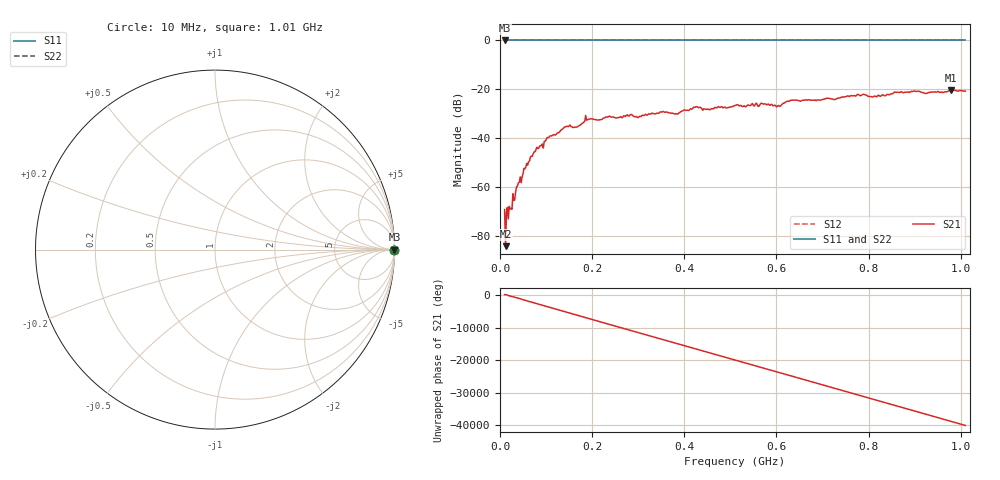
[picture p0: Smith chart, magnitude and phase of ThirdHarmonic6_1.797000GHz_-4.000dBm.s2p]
! 8/16/2025 9:44:37 PM
! C:\ANRITSUVNA\TEMP\TEMP.S2P
! CHANNEL.1
! TR.MEASUREMENT
! RAW.DATA
! RF.CORRECTION.OFF
! AVERAGING.OFF
! IF.BANDWIDTH: 5KHZ
! SWEEPTYPE:  FREQ.SWEEP(Linear)
! Reference Plane Port Info
! PORT:  PORT1  PORT2
! DISTANCE:  0  m  0  m
! TIME:  0  s  0  s
! PHASE.OFFSET:  0  deg.  0  deg.
! LOSS:  0  dB  0  dB
! REF.LOSS:  0  dB  0  dB
! REF.FREQ:  0  Hz  0  Hz
! Power Info
! POWER:  -20  dBm  -20  dBm
! EFF.POWER:  -20  dBm  -20  dBm
! SOURCE.ATTEN:  0  dB  0  dB
! TEST.ATTEN:  0  dB  0  dB
# GHZ S RI R 50.0
! FREQ.GHZ  S11RE  S11IM  S21RE  S21IM  S12RE  S12IM  S22RE  S22IM
!; PortSelection: Port_12
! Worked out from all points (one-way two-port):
!   501 points, 10 MHz to 1.01 GHz, reference 50 ohm
!   highest |S21| = -20.34 dB at 978 MHz (marker M1); lowest = -84.3 dB at 12 MHz (marker M2)
!   lowest |S11| = 0.0 dB at 10 MHz (marker M3)
!   |S11| at or under -10 dB: nowhere
!   |S22| runs from 0.0 to 0.0 dB; largest |S21 - S12| = 1.1
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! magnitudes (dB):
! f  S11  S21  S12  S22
! 10 MHz  0.0  -69.3  0.0  0.0
! 12 MHz  0.0  -84.3  0.0  0.0
! 16 MHz  0.0  -68.4  0.0  0.0
! 18 MHz  0.0  -73.1  0.0  0.0
! 22 MHz  0.0  -69.0  0.0  0.0
! 40 MHz  0.0  -58.3  0.0  0.0
! 76 MHz  0.0  -45.6  0.0  0.0
! 106 MHz  0.0  -39.7  0.0  0.0
! 142 MHz  0.0  -35.5  0.0  0.0
! 178 MHz  0.0  -34.0  0.0  0.0
! 190 MHz  0.0  -32.5  0.0  0.0
! 344 MHz  0.0  -29.9  0.0  0.0
! 382 MHz  0.0  -30.0  0.0  0.0
! 424 MHz  0.0  -27.3  0.0  0.0
! 452 MHz  0.0  -28.2  0.0  0.0
! 510 MHz  0.0  -26.6  0.0  0.0
! 604 MHz  0.0  -26.6  0.0  0.0
! 634 MHz  0.0  -24.4  0.0  0.0
! 678 MHz  0.0  -24.5  0.0  0.0
! 844 MHz  0.0  -22.2  0.0  0.0
! 978 MHz  0.0  -20.3  0.0  0.0
! 1.01 GHz  0.0  -20.7  0.0  0.0
